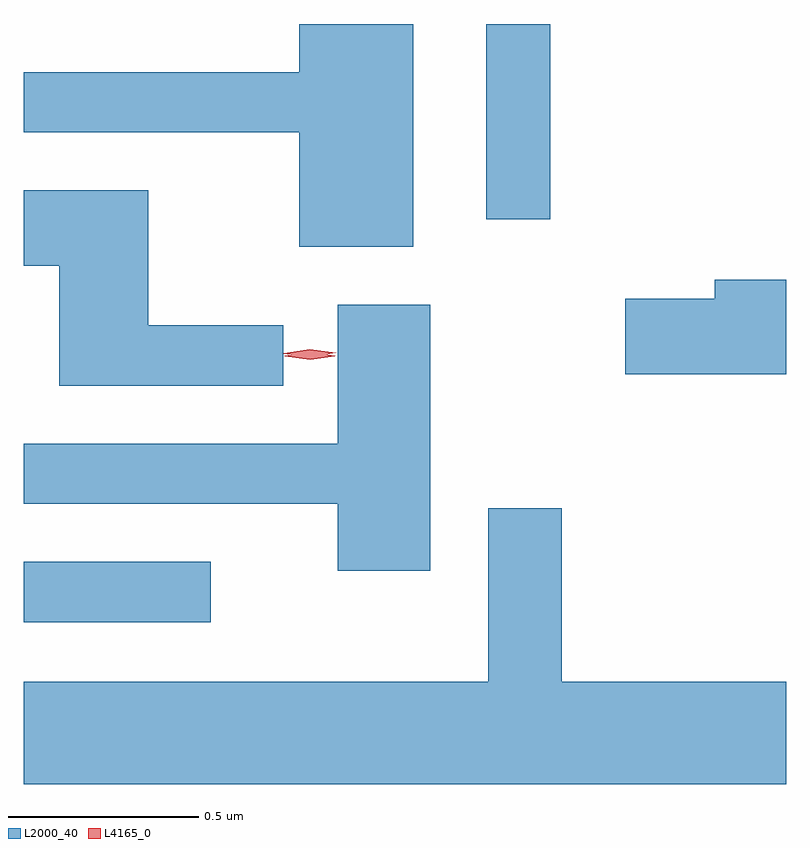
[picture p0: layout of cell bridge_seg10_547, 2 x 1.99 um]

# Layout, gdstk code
import gdstk
lib = gdstk.Library(unit=1e-6, precision=1e-09)
def R(c, l, rs):  # rectangles x0, y0, x1, y1
    for r in rs: c.add(gdstk.rectangle(r[:2], r[2:], *l))
def P(c, l, *ps):  # polygons
    for p in ps: c.add(gdstk.Polygon(p, *l))
L2000_40 = (2000, 40)
L4165_0 = (4165, 0)

bridge_seg10_547 = lib.new_cell('bridge_seg10_547')
R(bridge_seg10_547, L2000_40, [(807.908,2187.601,808.398,2187.759), (809.121,2188.658,809.289,2189.17)])
P(bridge_seg10_547, L2000_40, [(808.929,2189.17),(808.631,2189.17),(808.631,2189.044),(807.908,2189.044),(807.908,2188.886),(808.631,2188.886),(808.631,2188.586),(808.929,2188.586)],
  [(808.588,2188.379),(808.234,2188.379),(808.234,2188.734),(807.908,2188.734),(807.908,2188.536),(808.001,2188.536),(808.001,2188.221),(808.588,2188.221)],
  [(809.908,2188.499),(809.721,2188.499),(809.721,2188.449),(809.486,2188.449),(809.486,2188.251),(809.908,2188.251)],
  [(808.974,2188.434),(808.731,2188.434),(808.731,2188.069),(807.908,2188.069),(807.908,2187.911),(808.731,2187.911),(808.731,2187.736),(808.974,2187.736)],
  [(809.908,2187.444),(809.319,2187.444),(809.319,2187.899),(809.126,2187.899),(809.126,2187.444),(807.908,2187.444),(807.908,2187.176),(809.908,2187.176)])
P(bridge_seg10_547, L4165_0, [(808.658,2188.296),(808.59,2188.305),(808.589,2188.306),(808.59,2188.306),(808.658,2188.316),(808.726,2188.308),(808.727,2188.307),(808.726,2188.307)],
  [(808.659,2188.289),(808.593,2188.298),(808.593,2188.299),(808.593,2188.3),(808.659,2188.309),(808.724,2188.3),(808.725,2188.299),(808.724,2188.298)])

lib.write_gds('bridge_seg10_547.gds')
